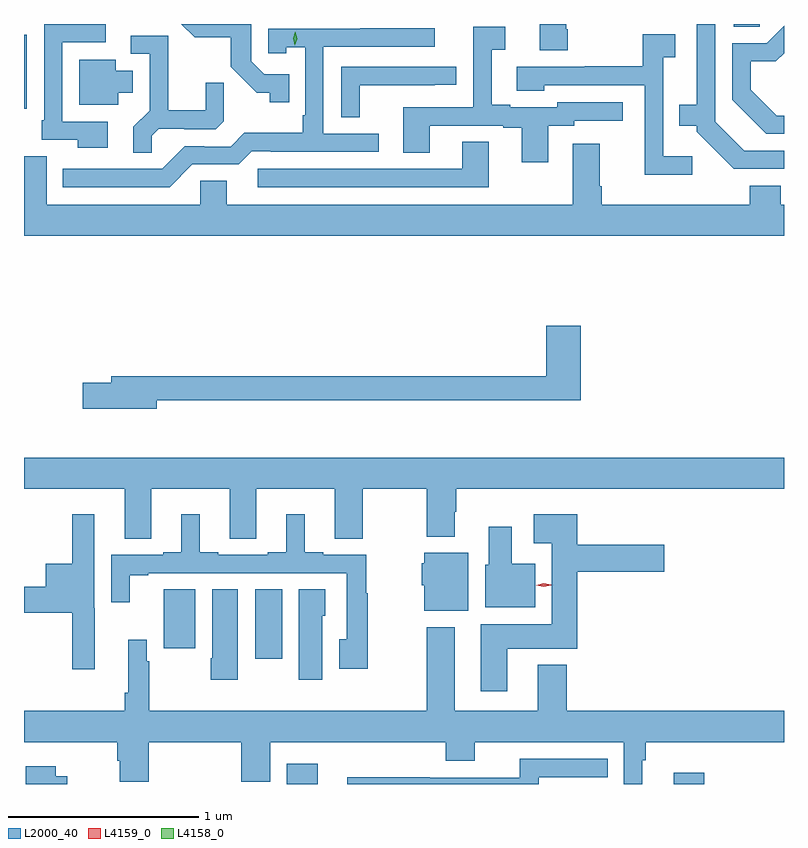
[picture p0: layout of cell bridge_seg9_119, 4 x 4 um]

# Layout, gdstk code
import gdstk
lib = gdstk.Library(unit=1e-6, precision=1e-09)
def R(c, l, rs):  # rectangles x0, y0, x1, y1
    for r in rs: c.add(gdstk.rectangle(r[:2], r[2:], *l))
def P(c, l, *ps):  # polygons
    for p in ps: c.add(gdstk.Polygon(p, *l))
L2000_40 = (2000, 40)
L4158_0 = (4158, 0)
L4159_0 = (4159, 0)

bridge_seg9_119 = lib.new_cell('bridge_seg9_119')
R(bridge_seg9_119, L2000_40, [(616.626,1233.495,616.787,1233.601), (618.662,1233.495,618.821,1233.553), (616.46,1234.155,616.6,1234.52), (615.977,1234.209,616.144,1234.52), (615.242,1237.049,615.256,1237.438), (618.977,1237.48,619.115,1237.495)])
P(bridge_seg9_119, L2000_40, [(615.682,1236.981),(615.444,1236.981),(615.444,1237.398),(615.673,1237.398),(615.673,1237.495),(615.575,1237.495),(615.575,1237.494),(615.348,1237.494),(615.348,1236.988),(615.336,1236.988),(615.336,1236.885),(615.526,1236.885),(615.526,1236.845),(615.682,1236.845)],
  [(619.242,1236.828),(619.032,1236.828),(618.879,1236.981),(618.879,1237.495),(618.782,1237.495),(618.782,1237.069),(618.691,1237.069),(618.691,1236.959),(618.783,1236.959),(618.783,1236.927),(618.978,1236.732),(619.242,1236.732)],
  [(616.637,1237.23),(616.506,1237.23),(616.437,1237.299),(616.437,1237.495),(616.07,1237.495),(616.14,1237.426),(616.329,1237.426),(616.329,1237.27),(616.466,1237.133),(616.536,1237.133),(616.536,1237.083),(616.637,1237.083)],
  [(618.105,1237.468),(618.097,1237.468),(618.097,1237.495),(617.957,1237.495),(617.957,1237.356),(618.105,1237.356)],
  [(619.242,1237.011),(619.203,1237.011),(619.066,1237.148),(619.066,1237.298),(619.199,1237.298),(619.242,1237.341),(619.242,1237.485),(619.152,1237.395),(618.969,1237.395),(618.969,1237.097),(619.148,1236.918),(619.242,1236.918)],
  [(618.001,1236.96),(618.138,1236.96),(618.138,1236.987),(618.394,1236.987),(618.394,1237.083),(618.048,1237.083),(618.048,1237.056),(617.8,1237.056),(617.8,1237.069),(617.704,1237.069),(617.704,1237.36),(617.776,1237.36),(617.776,1237.48),(617.607,1237.48),(617.607,1237.056),(617.237,1237.056),(617.237,1236.817),(617.377,1236.817),(617.377,1236.96),(617.765,1236.96),(617.765,1236.948),(617.861,1236.948),(617.861,1236.768),(618.001,1236.768)],
  [(616.128,1236.756),(616.371,1236.756),(616.44,1236.825),(616.54,1236.825),(616.54,1236.822),(617.11,1236.822),(617.11,1236.918),(616.818,1236.918),(616.818,1237.374),(617.404,1237.374),(617.404,1237.473),(617.011,1237.473),(617.011,1237.47),(616.527,1237.47),(616.527,1237.341),(616.623,1237.341),(616.623,1237.373),(616.722,1237.373),(616.722,1237.015),(616.71,1237.015),(616.71,1236.922),(616.402,1236.922),(616.329,1236.849),(616.19,1236.849),(616.19,1236.852),(616.089,1236.852),(615.969,1236.732),(615.446,1236.732),(615.446,1236.636),(616.008,1236.636)],
  [(618.76,1236.799),(618.606,1236.799),(618.606,1237.321),(618.67,1237.321),(618.67,1237.442),(618.498,1237.442),(618.498,1237.272),(618.193,1237.272),(618.193,1237.269),(617.835,1237.269),(617.835,1237.145),(617.979,1237.145),(617.979,1237.173),(618.51,1237.173),(618.51,1236.941),(618.508,1236.941),(618.508,1236.701),(618.76,1236.701)],
  [(615.915,1236.908),(615.952,1236.945),(616.086,1236.945),(616.086,1236.942),(616.251,1236.942),(616.292,1236.983),(616.292,1237.185),(616.198,1237.185),(616.198,1237.042),(616.001,1237.042),(616.001,1237.434),(615.804,1237.434),(615.804,1237.338),(615.903,1237.338),(615.903,1237.039),(615.817,1236.953),(615.817,1236.817),(615.915,1236.817)],
  [(615.739,1237.133),(615.814,1237.133),(615.814,1237.249),(615.724,1237.249),(615.724,1237.306),(615.533,1237.306),(615.533,1237.07),(615.739,1237.07)],
  [(617.01,1237.173),(617.405,1237.173),(617.405,1237.174),(617.518,1237.174),(617.518,1237.269),(616.911,1237.269),(616.911,1237.003),(617.01,1237.003)],
  [(617.689,1236.875),(617.549,1236.875),(617.549,1236.732),(616.473,1236.732),(616.473,1236.636),(617.689,1236.636)],
  [(619.242,1236.544),(619.226,1236.544),(619.226,1236.643),(619.061,1236.643),(619.061,1236.544),(618.284,1236.544),(618.284,1236.64),(618.271,1236.64),(618.271,1236.865),(618.131,1236.865),(618.131,1236.544),(616.309,1236.544),(616.309,1236.671),(616.17,1236.671),(616.17,1236.544),(615.361,1236.544),(615.361,1236.8),(615.242,1236.8),(615.242,1236.38),(619.242,1236.38)],
  [(615.94,1235.514),(618.173,1235.514),(618.173,1235.908),(617.99,1235.908),(617.99,1235.642),(615.701,1235.642),(615.701,1235.606),(615.552,1235.606),(615.552,1235.471),(615.94,1235.471)],
  [(615.913,1235.048),(616.325,1235.048),(616.325,1234.786),(616.465,1234.786),(616.465,1235.048),(616.877,1235.048),(616.877,1234.786),(617.025,1234.786),(617.025,1235.048),(617.362,1235.048),(617.362,1234.796),(617.509,1234.796),(617.509,1234.928),(617.517,1234.928),(617.517,1235.048),(619.242,1235.048),(619.242,1235.212),(615.242,1235.212),(615.242,1235.048),(615.773,1235.048),(615.773,1234.786),(615.913,1234.786)],
  [(617.785,1234.208),(618.155,1234.208),(618.155,1234.613),(618.613,1234.613),(618.613,1234.755),(618.155,1234.755),(618.155,1234.915),(617.925,1234.915),(617.925,1234.763),(618.02,1234.763),(618.02,1234.336),(617.645,1234.336),(617.645,1233.984),(617.785,1233.984)],
  [(617.05,1234.498),(617.042,1234.498),(617.042,1234.701),(616.816,1234.701),(616.816,1234.714),(616.72,1234.714),(616.72,1234.915),(616.622,1234.915),(616.622,1234.714),(616.526,1234.714),(616.526,1234.701),(616.264,1234.701),(616.264,1234.714),(616.168,1234.714),(616.168,1234.915),(616.07,1234.915),(616.07,1234.714),(615.974,1234.714),(615.974,1234.701),(615.702,1234.701),(615.702,1234.452),(615.799,1234.452),(615.799,1234.593),(615.895,1234.593),(615.895,1234.605),(616.941,1234.605),(616.941,1234.257),(616.901,1234.257),(616.901,1234.101),(617.05,1234.101)],
  [(615.614,1234.419),(615.612,1234.419),(615.612,1234.915),(615.496,1234.915),(615.496,1234.654),(615.356,1234.654),(615.356,1234.532),(615.242,1234.532),(615.242,1234.396),(615.496,1234.396),(615.496,1234.098),(615.614,1234.098)],
  [(617.932,1234.654),(617.809,1234.654),(617.809,1234.849),(617.687,1234.849),(617.687,1234.65),(617.669,1234.65),(617.669,1234.424),(617.932,1234.424)],
  [(617.581,1234.711),(617.348,1234.711),(617.348,1234.656),(617.336,1234.656),(617.336,1234.542),(617.348,1234.542),(617.348,1234.406),(617.581,1234.406)],
  [(616.366,1234.52),(616.232,1234.52),(616.232,1234.156),(616.225,1234.156),(616.225,1234.044),(616.366,1234.044)],
  [(616.813,1234.38),(616.828,1234.38),(616.828,1234.52),(616.688,1234.52),(616.688,1234.044),(616.813,1234.044)],
  [(618.496,1233.62),(618.515,1233.62),(618.515,1233.716),(619.242,1233.716),(619.242,1233.88),(618.098,1233.88),(618.098,1234.123),(617.945,1234.123),(617.945,1233.88),(617.509,1233.88),(617.509,1234.321),(617.362,1234.321),(617.362,1233.88),(615.901,1233.88),(615.901,1234.142),(615.888,1234.142),(615.888,1234.255),(615.791,1234.255),(615.791,1233.976),(615.772,1233.976),(615.772,1233.88),(615.242,1233.88),(615.242,1233.716),(615.734,1233.716),(615.734,1233.618),(615.746,1233.618),(615.746,1233.508),(615.899,1233.508),(615.899,1233.716),(616.385,1233.716),(616.385,1233.508),(616.537,1233.508),(616.537,1233.716),(617.462,1233.716),(617.462,1233.617),(617.614,1233.617),(617.614,1233.716),(618.399,1233.716),(618.399,1233.495),(618.496,1233.495)],
  [(617.95,1233.531),(618.314,1233.531),(618.314,1233.627),(617.851,1233.627),(617.851,1233.528),(617.378,1233.528),(617.378,1233.53),(616.944,1233.53),(616.944,1233.495),(617.95,1233.495)],
  [(615.47,1233.537),(615.408,1233.537),(615.408,1233.589),(615.252,1233.589),(615.252,1233.495),(615.47,1233.495)])
P(bridge_seg9_119, L4158_0, [(616.667,1237.383),(616.667,1237.383),(616.659,1237.419),(616.67,1237.455),(616.67,1237.455),(616.67,1237.455),(616.679,1237.418),(616.668,1237.383)])
P(bridge_seg9_119, L4159_0, [(617.977,1234.532),(617.937,1234.542),(617.937,1234.542),(617.937,1234.542),(617.977,1234.552),(618.017,1234.543),(618.017,1234.543),(618.017,1234.542)])

lib.write_gds('bridge_seg9_119.gds')
